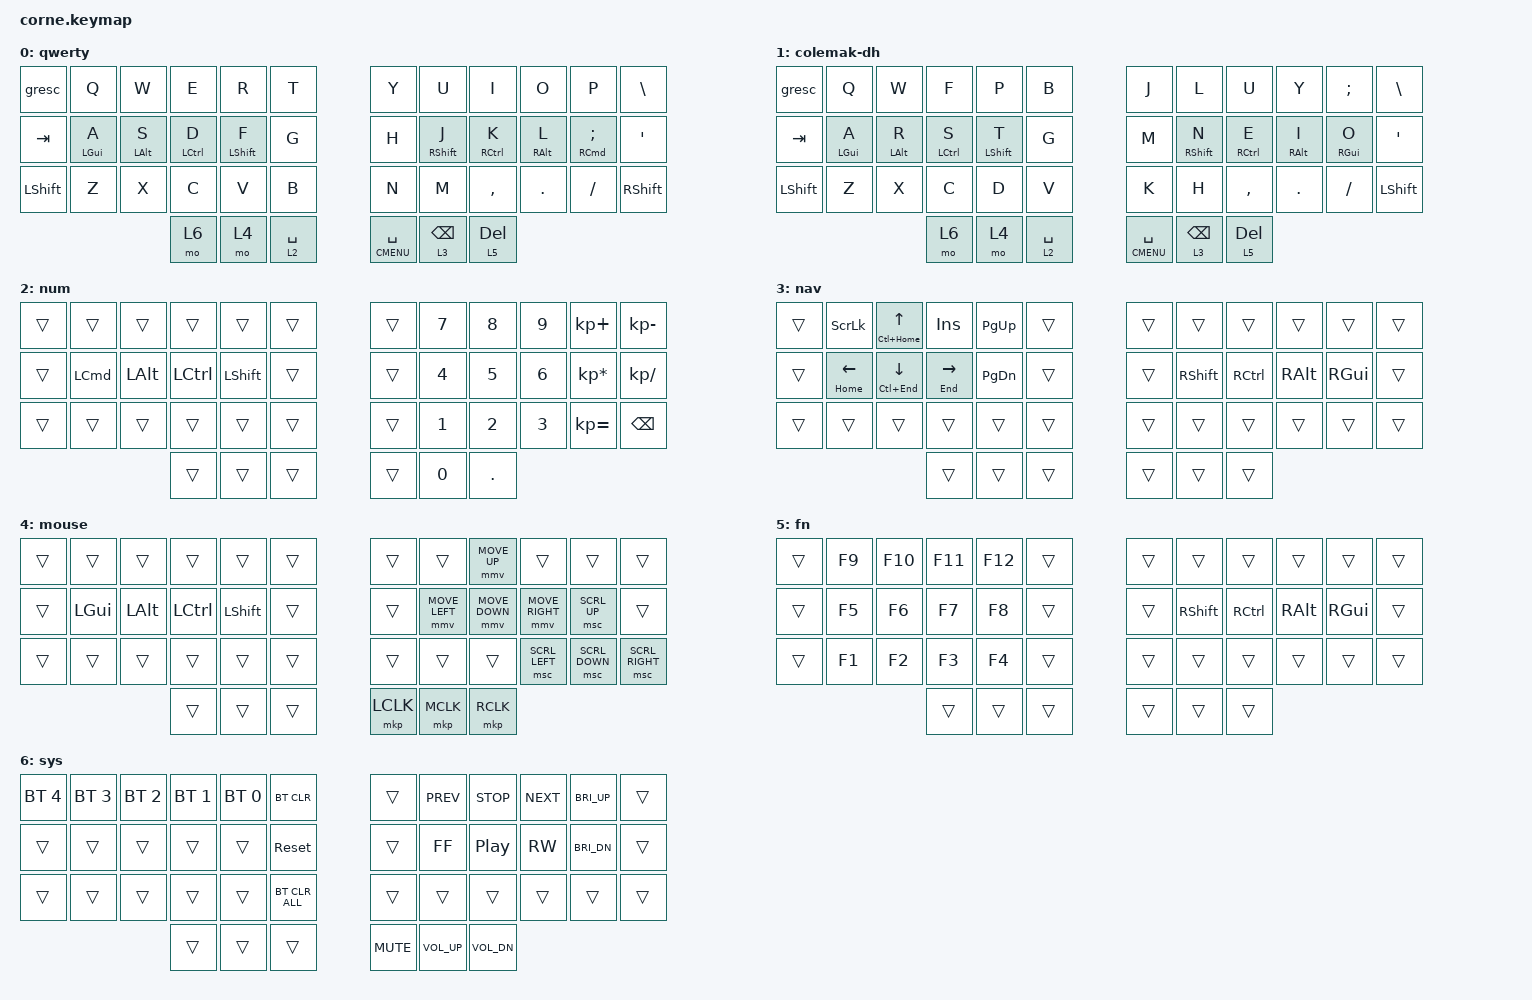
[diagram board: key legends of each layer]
/*
 * Copyright (c) 2020 The ZMK Contributors
 *
 * SPDX-License-Identifier: MIT
 */

#include <behaviors.dtsi>
#include <dt-bindings/zmk/bt.h>
#include <dt-bindings/zmk/keys.h>
#include <dt-bindings/zmk/pointing.h>

// Mouse Emulation Support - see https://zmk.dev/docs/keymaps/behaviors/mouse-emulation#configuration-option
//#define ZMK_POINTING_DEFAULT_MOVE_VAL 1500  // default: 600
//#define ZMK_POINTING_DEFAULT_SCRL_VAL 20    // default: 10
#include <dt-bindings/zmk/pointing.h>

/ {
    combos {
        compatible = "zmk,combos";

        capslock {
            bindings = <&kp CAPS>;
            key-positions = <24 35>;
        };

        toggle_colemak-dh {
            bindings = <&tog 1>;
            key-positions = <38 39>;
            layers = <0 1>;
        };

        sym_at {
            bindings = <&kp AT_SIGN>;
            key-positions = <0 12>;
            layers = <0 1>;
        };

        sym_pound {
            bindings = <&kp POUND>;
            key-positions = <1 13>;
            layers = <0 1 2>;
        };

        sym_dollar {
            bindings = <&kp DOLLAR>;
            key-positions = <2 14>;
            layers = <0 1 2>;
        };

        sym_percent {
            bindings = <&kp PERCENT>;
            key-positions = <15 3>;
            layers = <0 1 2>;
        };

        sym_caret {
            bindings = <&kp CARET>;
            key-positions = <4 16>;
            layers = <0 1 2>;
        };

        sym_ampersand {
            bindings = <&kp AMPERSAND>;
            key-positions = <5 17>;
            layers = <0 1 2>;
        };
    };

    behaviors {
        lhrm: lhrm {
            compatible = "zmk,behavior-hold-tap";
            label = "Left Home Row Mod";
            bindings = <&kp>, <&kp>;

            #binding-cells = <2>;
            tapping-term-ms = <280>;
            quick-tap-ms = <175>;
            require-prior-idle-ms = <150>;
            flavor = "balanced";
            hold-trigger-on-release;
            hold-trigger-key-positions = <36 37 38 39 40 41 6 7 8 9 10 11 18 19 20 21 22 23 30 31 32 33 34 35>;
        };

        rhrm: rhrm {
            compatible = "zmk,behavior-hold-tap";
            label = "Right Home Row Mod";
            bindings = <&kp>, <&kp>;

            #binding-cells = <2>;
            tapping-term-ms = <280>;
            quick-tap-ms = <175>;
            require-prior-idle-ms = <150>;
            flavor = "balanced";
            hold-trigger-on-release;
            hold-trigger-key-positions = <39 40 41 0 1 2 3 4 5 12 13 14 15 16 17 24 25 26 27 28 29 36 37 38>;
        };
    };

    keymap {
        compatible = "zmk,keymap";

        qwerty {
            bindings = <
&gresc     &kp Q         &kp W         &kp E          &kp R          &kp T          &kp Y              &kp U          &kp I          &kp O         &kp P            &kp BSLH
&kp TAB    &lhrm LGUI A  &lhrm LALT S  &lhrm LCTRL D  &lhrm LSHFT F  &kp G          &kp H              &rhrm RSHFT J  &rhrm RCTRL K  &rhrm RALT L  &rhrm RCMD SEMI  &kp APOS
&kp LSHFT  &kp Z         &kp X         &kp C          &kp V          &kp B          &kp N              &kp M          &kp COMMA      &kp DOT       &kp FSLH         &kp RSHFT
                                       &mo 6          &mo 4          &lt 2 SPACE    &mt K_CMENU SPACE  &lt 3 BSPC     &lt 5 DEL
            >;
        };

        colemak-dh {
            bindings = <
&gresc     &kp Q         &kp W         &kp F          &kp P          &kp B          &kp J              &kp L          &kp U          &kp Y         &kp SEMI      &kp BSLH
&kp TAB    &lhrm LGUI A  &lhrm LALT R  &lhrm LCTRL S  &lhrm LSHFT T  &kp G          &kp M              &rhrm RSHFT N  &rhrm RCTRL E  &rhrm RALT I  &rhrm RGUI O  &kp APOS
&kp LSHFT  &kp Z         &kp X         &kp C          &kp D          &kp V          &kp K              &kp H          &kp COMMA      &kp DOT       &kp FSLH      &kp LSHFT
                                       &mo 6          &mo 4          &lt 2 SPACE    &mt K_CMENU SPACE  &lt 3 BSPC     &lt 5 DEL
            >;
        };

        num {
            bindings = <
&trans  &trans    &trans        &trans     &trans     &trans    &trans  &kp N7  &kp N8   &kp N9  &kp KP_PLUS      &kp KP_MINUS
&trans  &kp LCMD  &kp LEFT_ALT  &kp LCTRL  &kp LSHFT  &trans    &trans  &kp N4  &kp N5   &kp N6  &kp KP_MULTIPLY  &kp KP_DIVIDE
&trans  &trans    &trans        &trans     &trans     &trans    &trans  &kp N1  &kp N2   &kp N3  &kp KP_EQUAL     &kp BACKSPACE
                                &trans     &trans     &trans    &trans  &kp N0  &kp DOT
            >;
        };

        nav {
            bindings = <
&trans  &kp SCROLLLOCK  &mt LC(HOME) UP   &kp INSERT     &kp PG_UP  &trans    &trans  &trans     &trans     &trans    &trans    &trans
&trans  &mt HOME LEFT   &mt LC(END) DOWN  &mt END RIGHT  &kp PG_DN  &trans    &trans  &kp RSHFT  &kp RCTRL  &kp RALT  &kp RGUI  &trans
&trans  &trans          &trans            &trans         &trans     &trans    &trans  &trans     &trans     &trans    &trans    &trans
                                          &trans         &trans     &trans    &trans  &trans     &trans
            >;
        };

        mouse {
            bindings = <
&trans  &trans    &trans    &trans     &trans     &trans    &trans     &trans          &mmv MOVE_UP    &trans           &trans          &trans
&trans  &kp LGUI  &kp LALT  &kp LCTRL  &kp LSHFT  &trans    &trans     &mmv MOVE_LEFT  &mmv MOVE_DOWN  &mmv MOVE_RIGHT  &msc SCRL_UP    &trans
&trans  &trans    &trans    &trans     &trans     &trans    &trans     &trans          &trans          &msc SCRL_LEFT   &msc SCRL_DOWN  &msc SCRL_RIGHT
                            &trans     &trans     &trans    &mkp LCLK  &mkp MCLK       &mkp RCLK
            >;
        };

        fn {
            bindings = <
&trans  &kp F9  &kp F10  &kp F11  &kp F12  &trans    &trans  &trans     &trans     &trans    &trans    &trans
&trans  &kp F5  &kp F6   &kp F7   &kp F8   &trans    &trans  &kp RSHFT  &kp RCTRL  &kp RALT  &kp RGUI  &trans
&trans  &kp F1  &kp F2   &kp F3   &kp F4   &trans    &trans  &trans     &trans     &trans    &trans    &trans
                         &trans   &trans   &trans    &trans  &trans     &trans
            >;
        };

        sys {
            bindings = <
&bt BT_SEL 4  &bt BT_SEL 3  &bt BT_SEL 2  &bt BT_SEL 1  &bt BT_SEL 0  &bt BT_CLR        &trans      &kp C_PREV    &kp C_STOP        &kp C_NEXT  &kp C_BRI_UP  &trans
&trans        &trans        &trans        &trans        &trans        &sys_reset        &trans      &kp C_FF      &kp C_PLAY_PAUSE  &kp C_RW    &kp C_BRI_DN  &trans
&trans        &trans        &trans        &trans        &trans        &bt BT_CLR_ALL    &trans      &trans        &trans            &trans      &trans        &trans
                                          &trans        &trans        &trans            &kp C_MUTE  &kp C_VOL_UP  &kp C_VOL_DN
            >;
        };
    };
};
